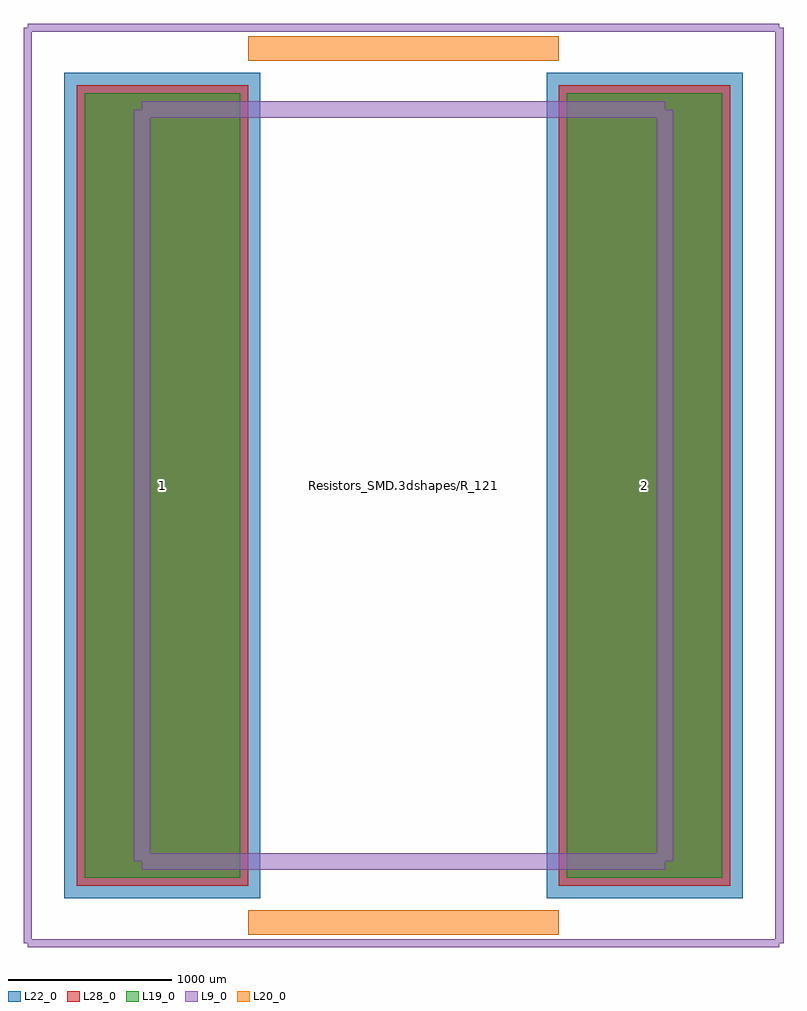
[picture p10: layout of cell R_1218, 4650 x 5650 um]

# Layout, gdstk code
import gdstk
lib = gdstk.Library(unit=1e-6, precision=1e-09)
def R(c, l, rs):  # rectangles x0, y0, x1, y1
    for r in rs: c.add(gdstk.rectangle(r[:2], r[2:], *l))
L9_0 = (9, 0)
L19_0 = (19, 0)
L20_0 = (20, 0)
L22_0 = (22, 0)
L28_0 = (28, 0)

r_1218 = lib.new_cell('R_1218')
R(r_1218, L19_0, [(-1950,-2400,-1000,2400), (1000,-2400,1950,2400)])
R(r_1218, L22_0, [(-2075,-2525,-875,2525), (875,-2525,2075,2525)])
R(r_1218, L28_0, [(-2000,-2450,-950,2450), (950,-2450,2000,2450)])
r_1218.add(gdstk.FlexPath([(-950,2675),(950,2675)], 149.998, ends="flush", simple_path=True, layer=20, datatype=0))  # L20_0
r_1218.add(gdstk.FlexPath([(950,-2675),(-950,-2675)], 149.998, ends="flush", simple_path=True, layer=20, datatype=0))  # L20_0
r_1218.add(gdstk.FlexPath([(2300,2800),(2300,-2800)], 50, ends="flush", simple_path=True, layer=9, datatype=0))  # L9_0
r_1218.add(gdstk.FlexPath([(-2300,2800),(-2300,-2800)], 50, ends="flush", simple_path=True, layer=9, datatype=0))  # L9_0
r_1218.add(gdstk.FlexPath([(-2300,-2800),(2300,-2800)], 50, ends="flush", simple_path=True, layer=9, datatype=0))  # L9_0
r_1218.add(gdstk.FlexPath([(-2300,2800),(2300,2800)], 50, ends="flush", simple_path=True, layer=9, datatype=0))  # L9_0
r_1218.add(gdstk.FlexPath([(-1600,-2300),(1600,-2300)], 100, ends="flush", simple_path=True, layer=9, datatype=0))  # L9_0
r_1218.add(gdstk.FlexPath([(1600,-2300),(1600,2300)], 100, ends="flush", simple_path=True, layer=9, datatype=0))  # L9_0
r_1218.add(gdstk.FlexPath([(1600,2300),(-1600,2300)], 100, ends="flush", simple_path=True, layer=9, datatype=0))  # L9_0
r_1218.add(gdstk.FlexPath([(-1600,2300),(-1600,-2300)], 100, ends="flush", simple_path=True, layer=9, datatype=0))  # L9_0
r_1218.add(gdstk.Label('Resistors_SMD.3dshapes/R_1218.wrl', (0,0), layer=12, texttype=0))
r_1218.add(gdstk.Label('2', (1475,0), layer=28, texttype=0))
r_1218.add(gdstk.Label('1', (-1475,0), layer=28, texttype=0))
r_1218.add(gdstk.Label('type', (0,-3900), layer=9, texttype=0))
r_1218.add(gdstk.Label('devicename', (0,3900), layer=9, texttype=0))

lib.write_gds('R_1218.gds')
